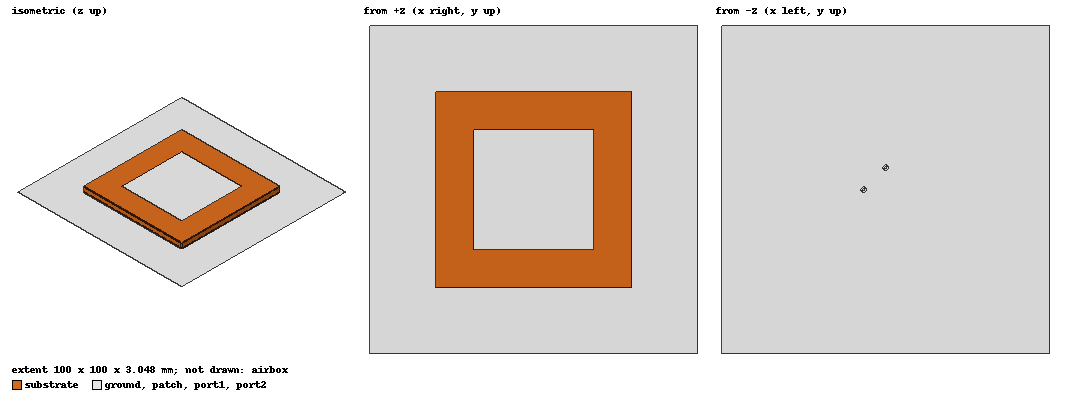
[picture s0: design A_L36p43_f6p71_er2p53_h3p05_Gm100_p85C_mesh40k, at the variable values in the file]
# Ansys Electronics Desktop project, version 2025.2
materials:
  vacuum: permittivity=1
  substrate_design: permittivity=2.5309 permeability=1 dielectric_loss_tangent=0.0018
  copper: permeability=0.999991 conductivity=58000000
  pec: conductivity=1e+30

design A_L36p43_f6p71_er2p53_h3p05_Gm100_p85C_mesh40k (HFSS, HFSS Modal Network, model units mm)
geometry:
  substrate [substrate_design] = box(corner=(-30mm, -30mm, 0mm), size=(60mm, 60mm, 3.048mm))
  ground = rectangle(corner=(-50mm, -50mm, 0mm), x_size=100mm, y_size=100mm)
  hole1 = circle(normal=Z, centre=(6.7068mm, 0mm, 0mm), radius=0.8mm)
  ground.subtract(hole1)
  hole2 = circle(normal=Z, centre=(0mm, 6.7068mm, 0mm), radius=0.8mm)
  ground.subtract(hole2)
  patch = polyline(z=3.048mm, xy in mm: (-18.2134, 18.2134) (18.2134, 18.2134) (18.2134, -18.2134) (-18.2134, -18.2134) (-18.2134, 18.2134), closed, covered)
  pin1 [pec] = cylinder(axis=Z, base_centre=(6.7068mm, 0mm, 0mm), radius=0.25mm, height=3.048mm)
  pin1_1 = pin1.copy()
  substrate.subtract(pin1_1)
  port1 = circle(normal=Z, centre=(6.7068mm, 0mm, 0mm), radius=0.8mm)
  inner1 = circle(normal=Z, centre=(6.7068mm, 0mm, 0mm), radius=0.25mm)
  port1.subtract(inner1)
  pin2 [pec] = cylinder(axis=Z, base_centre=(0mm, 6.7068mm, 0mm), radius=0.25mm, height=3.048mm)
  pin2_1 = pin2.copy()
  substrate.subtract(pin2_1)
  port2 = circle(normal=Z, centre=(0mm, 6.7068mm, 0mm), radius=0.8mm)
  inner2 = circle(normal=Z, centre=(0mm, 6.7068mm, 0mm), radius=0.25mm)
  port2.subtract(inner2)
  airbox [vacuum] = box(corner=(-80.906439mm, -80.906439mm, -30.906439mm), size=(161.81288mm, 161.81288mm, 64.860878mm))
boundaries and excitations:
  Cu_sheets: Finite Conductivity Objects=[patch, ground] UseMaterial Material=copper Roughness=0mm IsInternal
  Rad__RCDUMC: Radiation Objects=airbox
  P1: Lumped Port Objects=port1 LumpedPortType=Modal Modes{Mode1{IntLine{(6.9568, 0, 0) -> (7.5068, 0, 0)} CharImp=Zpi RenormImp=50ohm}} Impedance=50ohm
  P2: Lumped Port Objects=port2 LumpedPortType=Modal Modes{Mode1{IntLine{(0.25, 6.7068, 0) -> (0.8, 6.7068, 0)} CharImp=Zpi RenormImp=50ohm}} Impedance=50ohm
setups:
  Setup1: HfssDriven Frequency=2.425GHz MaxDeltaS=1e-05 MaximumPasses=17 MinimumPasses=1 MinimumConvergedPasses=2 PercentRefinement=30 BasisOrder=1 PortAccuracy=2 DrivenSolverType="Direct Solver"
    sweep S: 2.2GHz to 2.65GHz, 901 points; Type=Interpolating InterpTolerance=0.5 InterpMaxSolns=250 InterpUsePortImped=false PassivityErrorTolerance=0.0001
    sweep FF: 2.365GHz to 2.485GHz step 0.005GHz; Type=Discrete SaveFields
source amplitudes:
  P1:1: 1W 0deg
  P2:1: 1W -90deg
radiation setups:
  ff: Infinite Sphere Theta=-180deg..180deg step 2deg Phi=0deg..90deg step 90deg
